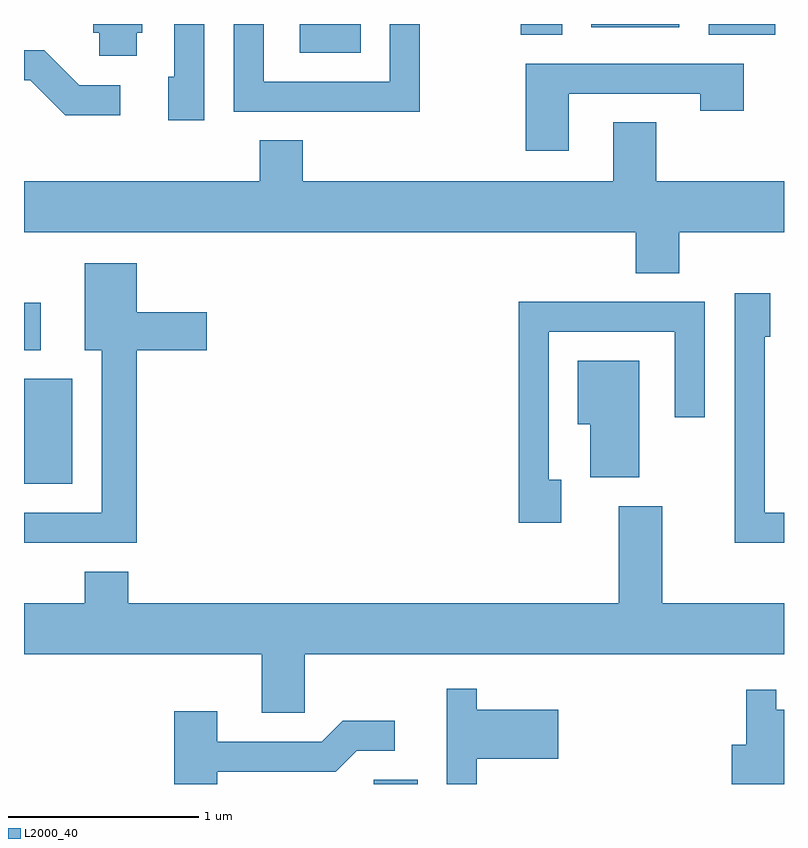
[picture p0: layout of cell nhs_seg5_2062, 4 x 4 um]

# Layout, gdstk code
import gdstk
lib = gdstk.Library(unit=1e-6, precision=1e-09)
def R(c, l, rs):  # rectangles x0, y0, x1, y1
    for r in rs: c.add(gdstk.rectangle(r[:2], r[2:], *l))
def P(c, l, *ps):  # polygons
    for p in ps: c.add(gdstk.Polygon(p, *l))
L2000_40 = (2000, 40)

nhs_seg5_2062 = lib.new_cell('nhs_seg5_2062')
R(nhs_seg5_2062, L2000_40, [(247.451,1496.072,247.684,1496.094), (245.611,1497.651,245.864,1498.204), (245.611,1498.356,245.699,1498.604), (247.061,1499.921,247.384,1500.072), (248.226,1500.016,248.444,1500.072), (249.216,1500.016,249.564,1500.072), (248.596,1500.056,249.059,1500.072)])
P(nhs_seg5_2062, L2000_40, [(246.559,1500.072),(246.401,1500.072),(246.401,1499.794),(246.371,1499.794),(246.371,1499.566),(246.559,1499.566)],
  [(246.204,1500.026),(246.234,1500.026),(246.234,1500.072),(245.976,1500.072),(245.976,1500.026),(246.006,1500.026),(246.006,1499.906),(246.204,1499.906)],
  [(247.694,1500.072),(247.536,1500.072),(247.536,1499.769),(246.874,1499.769),(246.874,1500.072),(246.716,1500.072),(246.716,1499.611),(247.694,1499.611)],
  [(246.118,1499.749),(245.902,1499.749),(245.717,1499.934),(245.611,1499.934),(245.611,1499.776),(245.644,1499.776),(245.829,1499.591),(246.118,1499.591)],
  [(248.479,1499.706),(249.171,1499.706),(249.171,1499.616),(249.399,1499.616),(249.399,1499.864),(248.251,1499.864),(248.251,1499.406),(248.479,1499.406)],
  [(249.059,1498.976),(249.611,1498.976),(249.611,1499.244),(248.939,1499.244),(248.939,1499.554),(248.711,1499.554),(248.711,1499.244),(247.079,1499.244),(247.079,1499.459),(246.851,1499.459),(246.851,1499.244),(245.611,1499.244),(245.611,1498.976),(248.831,1498.976),(248.831,1498.761),(249.059,1498.761)],
  [(246.204,1498.356),(246.574,1498.356),(246.574,1498.554),(246.204,1498.554),(246.204,1498.814),(245.931,1498.814),(245.931,1498.356),(246.021,1498.356),(246.021,1497.499),(245.611,1497.499),(245.611,1497.341),(246.204,1497.341)],
  [(249.611,1497.499),(249.509,1497.499),(249.509,1498.426),(249.539,1498.426),(249.539,1498.654),(249.351,1498.654),(249.351,1497.341),(249.611,1497.341)],
  [(248.439,1497.674),(248.374,1497.674),(248.374,1498.451),(249.036,1498.451),(249.036,1498.003),(249.194,1498.003),(249.194,1498.609),(248.216,1498.609),(248.216,1497.446),(248.439,1497.446)],
  [(248.849,1498.299),(248.526,1498.299),(248.526,1497.966),(248.591,1497.966),(248.591,1497.686),(248.849,1497.686)],
  [(247.089,1496.756),(249.611,1496.756),(249.611,1497.024),(248.969,1497.024),(248.969,1497.534),(248.741,1497.534),(248.741,1497.024),(246.159,1497.024),(246.159,1497.189),(245.931,1497.189),(245.931,1497.024),(245.611,1497.024),(245.611,1496.756),(246.861,1496.756),(246.861,1496.446),(247.089,1496.446)],
  [(247.994,1496.206),(248.424,1496.206),(248.424,1496.464),(247.994,1496.464),(247.994,1496.573),(247.836,1496.573),(247.836,1496.072),(247.994,1496.072)],
  [(249.611,1496.464),(249.569,1496.464),(249.569,1496.568),(249.411,1496.568),(249.411,1496.279),(249.336,1496.279),(249.336,1496.072),(249.611,1496.072)],
  [(246.629,1496.136),(247.252,1496.136),(247.362,1496.246),(247.563,1496.246),(247.563,1496.404),(247.289,1496.404),(247.179,1496.294),(246.629,1496.294),(246.629,1496.454),(246.401,1496.454),(246.401,1496.072),(246.629,1496.072)])

lib.write_gds('nhs_seg5_2062.gds')
